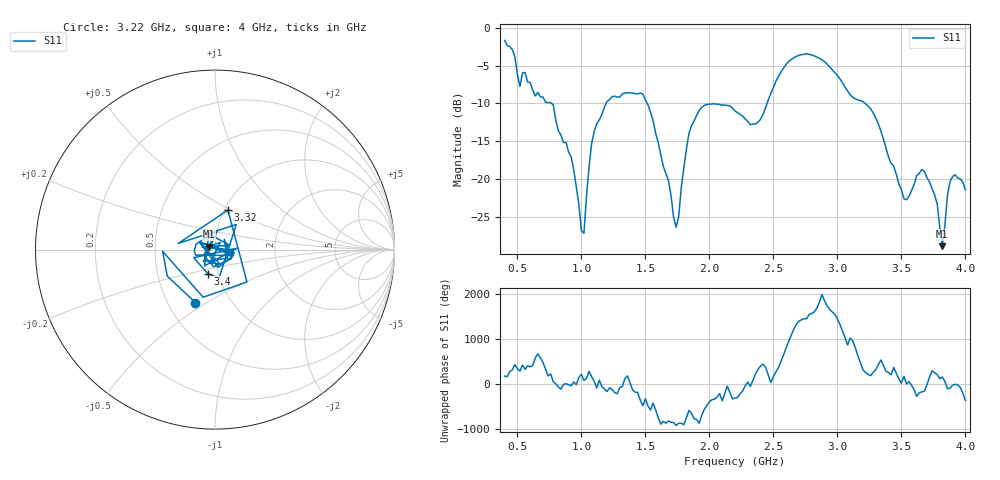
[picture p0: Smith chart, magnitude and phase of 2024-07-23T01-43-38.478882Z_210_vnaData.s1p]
!Created with skrf (http://scikit-rf.org).
# Hz S RI R 50.0
!freq ReS11 ImS11
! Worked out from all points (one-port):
!   181 points, 400 MHz to 4 GHz, reference 50 ohm
!   lowest |S11| = -28.9 dB at 3.82 GHz (marker M1), VSWR 1.07, Z = 46.9 + j1.55 ohm
!   |S11| at or under -10 dB: 767.2 MHz to 1.193 GHz (425.4 MHz wide, 43.4 % of centre); 1.515 GHz to 2.45 GHz (935.6 MHz wide, 47.2 % of centre); 3.217 GHz to end of sweep
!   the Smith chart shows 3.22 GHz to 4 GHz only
!   S11 on the Smith chart (normalised r, x): 3.22 GHz: 0.68, -0.45; 3.32 GHz: 1.04, +0.48; 3.4 GHz: 0.89, -0.24; 4 GHz: 1.18, -0.03
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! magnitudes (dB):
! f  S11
! 400 MHz  -1.7
! 520 MHz  -7.8
! 560 MHz  -5.9
! 780 MHz  -10.2
! 860 MHz  -15.2
! 920 MHz  -17.0
! 1.02 GHz  -27.1
! 1.1 GHz  -13.7
! 1.3 GHz  -9.1
! 1.48 GHz  -8.8
! 1.74 GHz  -26.4
! 1.76 GHz  -25.0
! 1.84 GHz  -14.0
! 1.92 GHz  -10.9
! 2.2 GHz  -11.0
! 2.38 GHz  -12.5
! 2.66 GHz  -3.9
! 2.88 GHz  -4.2
! 3.1 GHz  -8.8
! 3.22 GHz  -10.0
! 3.32 GHz  -12.7
! 3.4 GHz  -17.1
! 3.56 GHz  -22.2
! 3.68 GHz  -19.0
! 3.78 GHz  -23.3
! 3.82 GHz  -28.9
! 3.88 GHz  -20.3
! 4 GHz  -21.4
